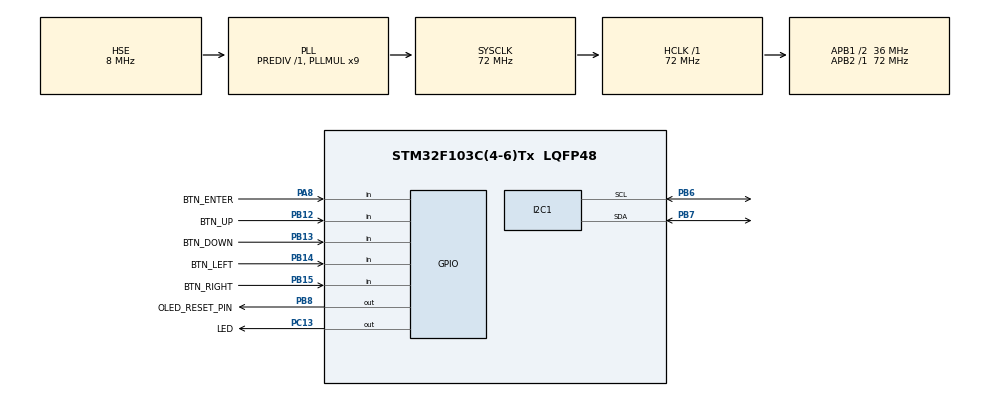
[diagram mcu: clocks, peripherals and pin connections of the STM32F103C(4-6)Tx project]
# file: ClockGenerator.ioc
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I2C1.I2C_Mode=I2C_Standard
Mcu.Family=STM32F1
Mcu.Name=STM32F103C(4-6)Tx
Mcu.Package=LQFP48
NVIC.PriorityGroup=NVIC_PRIORITYGROUP_4
PA13.Mode=Serial_Wire
PA13.Signal=SYS_JTMS-SWDIO
PA14.Mode=Serial_Wire
PA14.Signal=SYS_JTCK-SWCLK
PA8.GPIO_Label=BTN_ENTER
PA8.GPIO_PuPd=GPIO_PULLUP
PA8.Signal=GPIO_Input
PB12.GPIO_Label=BTN_UP
PB12.GPIO_PuPd=GPIO_PULLUP
PB12.Signal=GPIO_Input
PB13.GPIO_Label=BTN_DOWN
PB13.GPIO_PuPd=GPIO_PULLUP
PB13.Signal=GPIO_Input
PB14.GPIO_Label=BTN_LEFT
PB14.GPIO_PuPd=GPIO_PULLUP
PB14.Signal=GPIO_Input
PB15.GPIO_Label=BTN_RIGHT
PB15.GPIO_PuPd=GPIO_PULLUP
PB15.Signal=GPIO_Input
PB6.GPIO_Pu=GPIO_PULLUP
PB6.Mode=I2C
PB6.Signal=I2C1_SCL
PB7.GPIO_Pu=GPIO_PULLUP
PB7.Mode=I2C
PB7.Signal=I2C1_SDA
PB8.GPIO_Label=OLED_RESET_PIN
PB8.Signal=GPIO_Output
PC13-TAMPER-RTC.GPIO_Label=LED
PC13-TAMPER-RTC.GPIO_Speed=GPIO_SPEED_FREQ_HIGH
PC13-TAMPER-RTC.PinState=GPIO_PIN_SET
PC13-TAMPER-RTC.Signal=GPIO_Output
PD0-OSC_IN.Mode=HSE-External-Oscillator
PD0-OSC_IN.Signal=RCC_OSC_IN
PD1-OSC_OUT.Mode=HSE-External-Oscillator
PD1-OSC_OUT.Signal=RCC_OSC_OUT
ProjectManager.HeapSize=0x200
ProjectManager.StackSize=0x400
ProjectManager.TargetToolchain=STM32CubeIDE
RCC.AHBFreq_Value=72000000
RCC.APB1CLKDivider=RCC_HCLK_DIV2
RCC.APB1Freq_Value=36000000
RCC.APB1TimFreq_Value=72000000
RCC.APB2Freq_Value=72000000
RCC.APB2TimFreq_Value=72000000
RCC.HCLKFreq_Value=72000000
RCC.PLLMUL=RCC_PLL_MUL9
RCC.PLLSourceVirtual=RCC_PLLSOURCE_HSE
RCC.SYSCLKFreq_VALUE=72000000
RCC.SYSCLKSource=RCC_SYSCLKSOURCE_PLLCLK
RCC.USBFreq_Value=72000000
board=custom

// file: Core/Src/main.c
/* USER CODE BEGIN Header */
/**
  ******************************************************************************
  * @file           : main.c
  * @brief          : Main program body
  ******************************************************************************
  * @attention
  *
  * Copyright (c) 2022 STMicroelectronics.
  * All rights reserved.
  *
  * This software is licensed under terms that can be found in the LICENSE file
  * in the root directory of this software component.
  * If no LICENSE file comes with this software, it is provided AS-IS.
  *
  ******************************************************************************
  */
/* USER CODE END Header */
#include "main.h"

/* USER CODE BEGIN Includes */
#include "string.h"
#include "stdio.h"
#include "stdlib.h"
/* USER CODE END Includes */

/* USER CODE BEGIN PD */
#define XTAL_FREQ 25000000
/* USER CODE END PD */

 I2C_HandleTypeDef hi2c1;

/* USER CODE BEGIN PV */

Si5351_ConfigTypeDef si1;
uint32_t channel0Freq;
uint32_t channel1Freq;
uint8_t selectedChannel;
uint8_t currentChar;
uint8_t currentMenu;

char textBuffer[16];
char editBuffer[16];

/* USER CODE END PV */

void SystemClock_Config(void);
static void MX_GPIO_Init(void);
static void MX_I2C1_Init(void);
/* USER CODE BEGIN PFP */
static void MX_SI_Init(void);
static void MX_SCR_Init(void);
/* USER CODE END PFP */

/* USER CODE BEGIN 0 */

void SetFrequency(uint8_t channel, uint32_t desiredFrequency)
{

	uint32_t pllFreq;
	uint32_t l;
	float f;
	uint8_t mult;
	uint32_t num;
	uint32_t denom;
	uint32_t divider;
	Si5351_CLKRDivTypeDef rDivider = CLK_R_Div1;

	if(desiredFrequency == 0)
	{
		si1.CLK[channel].CLK_Enable = OFF;
		Si5351_Init(&si1);
		if(channel == 0)
			channel0Freq = 0;
		else
			channel1Freq = 0;

		return;
	}

	if(desiredFrequency < 1000000)
	{
		rDivider = CLK_R_Div64;
		divider = 900000000 / (desiredFrequency * 64);

		if (divider % 2)
			divider--;

		pllFreq = divider * desiredFrequency * 64;
	}
	else
	{
		divider = 900000000 / desiredFrequency;

		if (divider % 2)
			divider--;

		pllFreq = divider * desiredFrequency;
	}

	mult = pllFreq / XTAL_FREQ;
	l = pllFreq % XTAL_FREQ;

	if(l == 0)
	{
		num = 0;
		denom = 1;
	}
	else
	{
		f = l;

		f /= XTAL_FREQ;
		f *= 1048575;
		num = f;
		denom = 1048575;
	}

	float finalFreq = (25000000 * (float)(mult + (float)num / (float)denom)) / (divider);

	if(rDivider != CLK_R_Div1)
		finalFreq /= 64;

	si1.PLL[channel].PLL_Multiplier_Integer = mult; //800Mhz
	si1.PLL[channel].PLL_Multiplier_Numerator = num;
	si1.PLL[channel].PLL_Multiplier_Denominator = denom;
	si1.MS[channel].MS_Divider_Integer = divider;
	si1.CLK[channel].CLK_R_Div = rDivider;
	si1.CLK[channel].CLK_Enable = ON;

	Si5351_Init(&si1);
	Si5351_PLLReset(&si1, channel);

	if(channel == 0)
		channel0Freq = finalFreq;
	else
		channel1Freq = finalFreq;
}

void SelectOsc(uint8_t oscChannel)
{

	selectedChannel = oscChannel;
	if(oscChannel == 0)
	{
		ssd1306_SetCursor(0, 10);
		ssd1306_WriteString(">", Font_6x8, White);
		ssd1306_SetCursor(0, 30);
		ssd1306_WriteString(" ", Font_6x8, White);
	}
	else
	{
		ssd1306_SetCursor(0, 10);
		ssd1306_WriteString(" ", Font_6x8, White);
		ssd1306_SetCursor(0, 30);
		ssd1306_WriteString(">", Font_6x8, White);
	}

	ssd1306_UpdateScreen();
}

void ShowCurrentOscConfig()
{
	size_t freqLen;

	ssd1306_Fill(Black);

	ssd1306_SetCursor(0, 0);
	ssd1306_WriteString("-MultiOsc-", Font_6x8, White);

	ssd1306_SetCursor(0, 10);
	ssd1306_WriteString("  OSC 1:", Font_6x8, White);

	memset(textBuffer, 0, 16);
	sprintf(textBuffer, "%lu", channel0Freq);
	freqLen = strlen(textBuffer);

	ssd1306_SetCursor((10 - freqLen) * 6, 20);
	ssd1306_WriteString(textBuffer, Font_6x8, White);

	ssd1306_SetCursor(0, 30);
	ssd1306_WriteString("  OSC 2:", Font_6x8, White);

	memset(textBuffer, 0, 16);
	sprintf(textBuffer, "%lu", channel1Freq);
	freqLen = strlen(textBuffer);

	ssd1306_SetCursor((10 - freqLen) * 6, 40);
	ssd1306_WriteString(textBuffer, Font_6x8, White);

	SelectOsc(0);
}

uint8_t DebounceButton(GPIO_TypeDef* Port, uint16_t Pin)
{
	if(!HAL_GPIO_ReadPin(Port, Pin))
	{
		while(!HAL_GPIO_ReadPin(Port, Pin))
			HAL_Delay(1);

		HAL_Delay(50);

		return 1;
	}

	return 0;
}

void IncrementChar()
{
	uint8_t charIndex = 8 - currentChar;

	editBuffer[charIndex]++;

	if(editBuffer[charIndex] > 57)
		editBuffer[charIndex] = 48;

	ssd1306_SetCursor(6, 16);
	ssd1306_WriteString(editBuffer, Font_6x8, White);

	ssd1306_UpdateScreen();
}

void DecrementChar()
{
	uint8_t charIndex = 8 - currentChar;

	editBuffer[charIndex]--;

	if(editBuffer[charIndex] < 48)
		editBuffer[charIndex] = 57;

	ssd1306_SetCursor(6, 16);
	ssd1306_WriteString(editBuffer, Font_6x8, White);

	ssd1306_UpdateScreen();
}

void SelectChar(uint8_t charNumber)
{
	currentChar = charNumber;

	memset(textBuffer, ' ', 10);
	textBuffer[10] = 0;
	textBuffer[9 - charNumber] = '^';

	ssd1306_SetCursor(0, 24);
	ssd1306_WriteString(textBuffer, Font_6x8, White);

	ssd1306_UpdateScreen();
}

void ShowEditOscConfig()
{

	size_t freqLen;
	uint32_t currentFreq = selectedChannel? channel1Freq : channel0Freq;

	if(currentFreq == 0)
	{
		memset(editBuffer, 48, 10);
		editBuffer[9] = 0;
	}
	else
	{
		sprintf(editBuffer, "%lu", currentFreq);
		freqLen = strlen(editBuffer);
		memset(editBuffer, 48, 9);
		sprintf(&editBuffer[9 - freqLen], "%lu", currentFreq);
	}

	ssd1306_Fill(Black);
	ssd1306_SetCursor(0, 0);

	if(selectedChannel == 0)
		ssd1306_WriteString("SET OSC 1:", Font_6x8, White);
	else
		ssd1306_WriteString("SET OSC 2:", Font_6x8, White);

	ssd1306_SetCursor(6, 16);
	ssd1306_WriteString(editBuffer, Font_6x8, White);

	SelectChar(0);
}

/* USER CODE END 0 */

int main(void)
{

  /* MCU Configuration--------------------------------------------------------*/

  /* Reset of all peripherals, Initializes the Flash interface and the Systick. */
  HAL_Init();

  /* Configure the system clock */
  SystemClock_Config();

  /* Initialize all configured peripherals */
  MX_GPIO_Init();
  MX_I2C1_Init();
  /* USER CODE BEGIN 2 */

  MX_SI_Init();
  MX_SCR_Init();
  /* USER CODE END 2 */

  /* Infinite loop */
  while (1)
  {

    /* USER CODE BEGIN 3 */

	  HAL_GPIO_TogglePin(LED_GPIO_Port, LED_Pin);

	  if(currentMenu == 0)
	  {
		  if(DebounceButton(BTN_UP_GPIO_Port, BTN_UP_Pin) || DebounceButton(BTN_DOWN_GPIO_Port, BTN_DOWN_Pin))
		  {
			  if(selectedChannel == 0)
				  SelectOsc(1);
			  else
				  SelectOsc(0);
		  }
		  else if(DebounceButton(BTN_ENTER_GPIO_Port, BTN_ENTER_Pin))
		  {
			  currentMenu = 1;
			  ShowEditOscConfig();
		  }
	  }
	  else
	  {
		  if(DebounceButton(BTN_LEFT_GPIO_Port, BTN_LEFT_Pin))
		  {
			  currentChar++;
			  if(currentChar > 8)
				  currentChar = 0;

			  SelectChar(currentChar);
		  }
		  else if(DebounceButton(BTN_RIGHT_GPIO_Port, BTN_RIGHT_Pin))
		  {
			  currentChar--;
			  if(currentChar > 8)
				  currentChar = 8;

			  SelectChar(currentChar);
		  }
		  else if(DebounceButton(BTN_UP_GPIO_Port, BTN_UP_Pin))
		  {
			  IncrementChar();
		  }
		  else if (DebounceButton(BTN_DOWN_GPIO_Port, BTN_DOWN_Pin))
		  {
			  DecrementChar();
		  }
		  else if(DebounceButton(BTN_ENTER_GPIO_Port, BTN_ENTER_Pin))
		  {
			  uint32_t newFreq = (unsigned)atol(editBuffer);

			  if(newFreq < 7000)
				  newFreq = 0;

			  SetFrequency(selectedChannel, newFreq);
			  currentMenu = 0;
			  ShowCurrentOscConfig();
		  }
	  }

  }
  /* USER CODE END 3 */
}

void SystemClock_Config(void)
{
  RCC_OscInitTypeDef RCC_OscInitStruct = {0};
  RCC_ClkInitTypeDef RCC_ClkInitStruct = {0};

  /** Initializes the RCC Oscillators according to the specified parameters
  * in the RCC_OscInitTypeDef structure.
  */
  RCC_OscInitStruct.OscillatorType = RCC_OSCILLATORTYPE_HSE;
  RCC_OscInitStruct.HSEState = RCC_HSE_ON;
  RCC_OscInitStruct.HSEPredivValue = RCC_HSE_PREDIV_DIV1;
  RCC_OscInitStruct.HSIState = RCC_HSI_ON;
  RCC_OscInitStruct.PLL.PLLState = RCC_PLL_ON;
  RCC_OscInitStruct.PLL.PLLSource = RCC_PLLSOURCE_HSE;
  RCC_OscInitStruct.PLL.PLLMUL = RCC_PLL_MUL9;
  if (HAL_RCC_OscConfig(&RCC_OscInitStruct) != HAL_OK)
  {
    Error_Handler();
  }

  /** Initializes the CPU, AHB and APB buses clocks
  */
  RCC_ClkInitStruct.ClockType = RCC_CLOCKTYPE_HCLK|RCC_CLOCKTYPE_SYSCLK
                              |RCC_CLOCKTYPE_PCLK1|RCC_CLOCKTYPE_PCLK2;
  RCC_ClkInitStruct.SYSCLKSource = RCC_SYSCLKSOURCE_PLLCLK;
  RCC_ClkInitStruct.AHBCLKDivider = RCC_SYSCLK_DIV1;
  RCC_ClkInitStruct.APB1CLKDivider = RCC_HCLK_DIV2;
  RCC_ClkInitStruct.APB2CLKDivider = RCC_HCLK_DIV1;

  if (HAL_RCC_ClockConfig(&RCC_ClkInitStruct, FLASH_LATENCY_2) != HAL_OK)
  {
    Error_Handler();
  }
}

static void MX_I2C1_Init(void)
{

  hi2c1.Instance = I2C1;
  hi2c1.Init.ClockSpeed = 100000;
  hi2c1.Init.DutyCycle = I2C_DUTYCYCLE_2;
  hi2c1.Init.OwnAddress1 = 0;
  hi2c1.Init.AddressingMode = I2C_ADDRESSINGMODE_7BIT;
  hi2c1.Init.DualAddressMode = I2C_DUALADDRESS_DISABLE;
  hi2c1.Init.OwnAddress2 = 0;
  hi2c1.Init.GeneralCallMode = I2C_GENERALCALL_DISABLE;
  hi2c1.Init.NoStretchMode = I2C_NOSTRETCH_DISABLE;
  if (HAL_I2C_Init(&hi2c1) != HAL_OK)
  {
    Error_Handler();
  }

}

static void MX_GPIO_Init(void)
{
  GPIO_InitTypeDef GPIO_InitStruct = {0};

  /* GPIO Ports Clock Enable */
  __HAL_RCC_GPIOC_CLK_ENABLE();
  __HAL_RCC_GPIOD_CLK_ENABLE();
  __HAL_RCC_GPIOB_CLK_ENABLE();
  __HAL_RCC_GPIOA_CLK_ENABLE();

  /*Configure GPIO pin Output Level */
  HAL_GPIO_WritePin(LED_GPIO_Port, LED_Pin, GPIO_PIN_SET);

  /*Configure GPIO pin Output Level */
  HAL_GPIO_WritePin(OLED_RESET_PIN_GPIO_Port, OLED_RESET_PIN_Pin, GPIO_PIN_RESET);

  /*Configure GPIO pin : LED_Pin */
  GPIO_InitStruct.Pin = LED_Pin;
  GPIO_InitStruct.Mode = GPIO_MODE_OUTPUT_PP;
  GPIO_InitStruct.Pull = GPIO_NOPULL;
  GPIO_InitStruct.Speed = GPIO_SPEED_FREQ_HIGH;
  HAL_GPIO_Init(LED_GPIO_Port, &GPIO_InitStruct);

  /*Configure GPIO pins : BTN_UP_Pin BTN_DOWN_Pin BTN_LEFT_Pin BTN_RIGHT_Pin */
  GPIO_InitStruct.Pin = BTN_UP_Pin|BTN_DOWN_Pin|BTN_LEFT_Pin|BTN_RIGHT_Pin;
  GPIO_InitStruct.Mode = GPIO_MODE_INPUT;
  GPIO_InitStruct.Pull = GPIO_PULLUP;
  HAL_GPIO_Init(GPIOB, &GPIO_InitStruct);

  /*Configure GPIO pin : BTN_ENTER_Pin */
  GPIO_InitStruct.Pin = BTN_ENTER_Pin;
  GPIO_InitStruct.Mode = GPIO_MODE_INPUT;
  GPIO_InitStruct.Pull = GPIO_PULLUP;
  HAL_GPIO_Init(BTN_ENTER_GPIO_Port, &GPIO_InitStruct);

  /*Configure GPIO pin : OLED_RESET_PIN_Pin */
  GPIO_InitStruct.Pin = OLED_RESET_PIN_Pin;
  GPIO_InitStruct.Mode = GPIO_MODE_OUTPUT_PP;
  GPIO_InitStruct.Pull = GPIO_NOPULL;
  GPIO_InitStruct.Speed = GPIO_SPEED_FREQ_LOW;
  HAL_GPIO_Init(OLED_RESET_PIN_GPIO_Port, &GPIO_InitStruct);

}

/* USER CODE BEGIN 4 */

static void MX_SI_Init(void)
{
	Si5351_StructInit(&si1, &hi2c1);
	si1.OSC.OSC_XTAL_Load = XTAL_Load_10_pF;

	si1.PLL[0].PLL_Clock_Source = PLL_Clock_Source_XTAL;
	si1.PLL[0].PLL_Multiplier_Integer = 32; //800Mhz
	si1.MS[0].MS_Clock_Source = MS_Clock_Source_PLLA;
	si1.MS[0].MS_Divider_Integer = 80; //10Mhz
	si1.CLK[0].CLK_R_Div = CLK_R_Div1;
	si1.CLK[0].CLK_Enable = OFF;

	si1.PLL[1].PLL_Clock_Source = PLL_Clock_Source_XTAL;
	si1.PLL[1].PLL_Multiplier_Integer = 32; //800Mhz
	si1.MS[1].MS_Clock_Source = MS_Clock_Source_PLLB;
	si1.MS[1].MS_Divider_Integer = 50; //10Mhz
	si1.CLK[1].CLK_R_Div = CLK_R_Div16; //1Mhz
	si1.CLK[1].CLK_Enable = OFF;

	si1.CLK[2].CLK_Enable = OFF;

	Si5351_Init(&si1);

	channel0Freq = 0;
	channel1Freq = 0;
}

static void MX_SCR_Init(void)
{
	ssd1306_Init();
	ShowCurrentOscConfig();
}

/* USER CODE END 4 */

void Error_Handler(void)
{
  __disable_irq();
  while (1)
  {
  }
}
